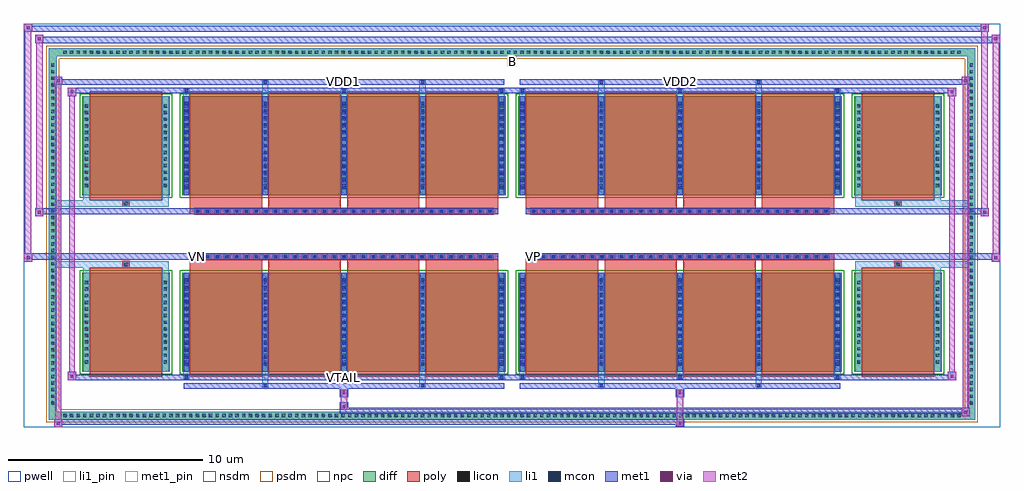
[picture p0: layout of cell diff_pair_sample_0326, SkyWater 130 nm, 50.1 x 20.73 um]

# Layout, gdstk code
import gdstk
lib = gdstk.Library(unit=1e-6, precision=5e-09)
def R(c, l, rs):  # rectangles x0, y0, x1, y1
    for r in rs: c.add(gdstk.rectangle(r[:2], r[2:], *l))
def A(c, l, x, y, w, h, nx, ny, dx, dy):  # array of equal rectangles
    R(c, l, [(x+i*dx, y+j*dy, x+i*dx+w, y+j*dy+h) for i in range(nx) for j in range(ny)])
def P(c, l, *ps):  # polygons
    for p in ps: c.add(gdstk.Polygon(p, *l))
pwell = (64, 44)
diff = (65, 20)
poly = (66, 20)
licon = (66, 44)
li1_pin = (67, 16)
li1 = (67, 20)
mcon = (67, 44)
met1_pin = (68, 16)
met1 = (68, 20)
via = (68, 44)
met2 = (69, 20)
nsdm = (93, 44)
psdm = (94, 20)
npc = (95, 20)

diff_pair_sample_0326 = lib.new_cell('diff_pair_sample_0326')
R(diff_pair_sample_0326, pwell, [(-25.05,-9.93,25.05,10.8), (-22.37,-8.12,-0.01,-0.8), (0.01,-8.12,22.37,-0.8), (-22.37,0.8,-0.01,8.12), (0.01,0.8,22.37,8.12)])
A(diff_pair_sample_0326, diff, -23.155, -9.53, 0.41, 0.41, 136, 2, 0.34, 18.65)
A(diff_pair_sample_0326, diff, -23.78, -8.875, 0.41, 0.41, 1, 52, 0, 0.34)
A(diff_pair_sample_0326, diff, 23.37, -8.875, 0.41, 0.41, 1, 52, 0, 0.34)
R(diff_pair_sample_0326, diff, [(-23.155,-9.53,23.155,-9.12), (-23.78,-8.875,-23.37,8.875), (23.37,-8.875,23.78,8.875), (-22.06,-7.075,-17.57,-1.985), (-16.93,-7.075,-0.32,-1.985), (0.32,-7.075,16.93,-1.985), (17.57,-7.075,22.06,-1.985), (-22.06,1.985,-17.57,7.075), (-16.93,1.985,-0.32,7.075), (0.32,1.985,16.93,7.075), (17.57,1.985,22.06,7.075), (-23.155,9.12,23.155,9.53)])
P(diff_pair_sample_0326, diff, [(23.78,9.53),(-23.78,9.53),(-23.78,-9.12),(-23.37,-9.12),(-23.37,9.12),(23.37,9.12),(23.37,-9.12),(-23.37,-9.12),(-23.78,-9.12),(-23.78,-9.53),(23.78,-9.53)])
A(diff_pair_sample_0326, poly, -16.54, -7.325, 3.71, 5.59, 4, 2, 4.04, 9.06)
A(diff_pair_sample_0326, poly, 0.71, -7.325, 3.71, 5.59, 4, 2, 4.04, 9.06)
A(diff_pair_sample_0326, poly, -16.54, -1.735, 3.71, 0.405, 4, 2, 4.04, 3.065)
A(diff_pair_sample_0326, poly, 0.71, -1.735, 3.71, 0.405, 4, 2, 4.04, 3.065)
A(diff_pair_sample_0326, poly, -16.29, -1.33, 0.33, 0.33, 31, 2, 0.5, 2.33)
A(diff_pair_sample_0326, poly, 0.96, -1.33, 0.33, 0.33, 31, 2, 0.5, 2.33)
R(diff_pair_sample_0326, poly, [(-21.67,-7.325,-17.96,-1.735), (17.96,-7.325,21.67,-1.735), (-19.98,-1.735,-19.65,-1.405), (-19.98,-1.735,-19.65,-1.405), (19.65,-1.735,19.98,-1.405), (19.65,-1.735,19.98,-1.405), (-16.54,-1.33,-0.71,-1), (0.71,-1.33,16.54,-1), (-16.54,1,-0.71,1.33), (0.71,1,16.54,1.33), (-19.98,1.405,-19.65,1.735), (-19.98,1.405,-19.65,1.735), (19.65,1.405,19.98,1.735), (19.65,1.405,19.98,1.735), (-21.67,1.735,-17.96,7.325), (17.96,1.735,21.67,7.325)])
A(diff_pair_sample_0326, licon, -23.035, -9.41, 0.17, 0.17, 136, 2, 0.34, 18.65)
A(diff_pair_sample_0326, licon, -23.66, -8.755, 0.17, 0.17, 1, 52, 0, 0.34)
A(diff_pair_sample_0326, licon, 23.49, -8.755, 0.17, 0.17, 1, 52, 0, 0.34)
A(diff_pair_sample_0326, licon, -21.92, -6.655, 0.17, 0.17, 1, 13, 0, 0.34)
A(diff_pair_sample_0326, licon, -17.88, -6.655, 0.17, 0.17, 1, 13, 0, 0.34)
A(diff_pair_sample_0326, licon, -16.79, -6.655, 0.17, 0.17, 5, 13, 4.04, 0.34)
A(diff_pair_sample_0326, licon, 0.46, -6.655, 0.17, 0.17, 5, 13, 4.04, 0.34)
A(diff_pair_sample_0326, licon, 17.71, -6.655, 0.17, 0.17, 1, 13, 0, 0.34)
A(diff_pair_sample_0326, licon, 21.75, -6.655, 0.17, 0.17, 1, 13, 0, 0.34)
A(diff_pair_sample_0326, licon, -16.21, -1.25, 0.17, 0.17, 31, 2, 0.5, 2.33)
A(diff_pair_sample_0326, licon, 1.04, -1.25, 0.17, 0.17, 31, 2, 0.5, 2.33)
A(diff_pair_sample_0326, licon, -21.92, 2.405, 0.17, 0.17, 1, 13, 0, 0.34)
A(diff_pair_sample_0326, licon, -17.88, 2.405, 0.17, 0.17, 1, 13, 0, 0.34)
A(diff_pair_sample_0326, licon, -16.79, 2.405, 0.17, 0.17, 5, 13, 4.04, 0.34)
A(diff_pair_sample_0326, licon, 0.46, 2.405, 0.17, 0.17, 5, 13, 4.04, 0.34)
A(diff_pair_sample_0326, licon, 17.71, 2.405, 0.17, 0.17, 1, 13, 0, 0.34)
A(diff_pair_sample_0326, licon, 21.75, 2.405, 0.17, 0.17, 1, 13, 0, 0.34)
R(diff_pair_sample_0326, licon, [(-19.9,-1.655,-19.73,-1.485), (19.73,-1.655,19.9,-1.485), (-19.9,1.485,-19.73,1.655), (19.73,1.485,19.9,1.655)])
R(diff_pair_sample_0326, li1_pin, [(-0.25,8.62,0.25,9.12)])
A(diff_pair_sample_0326, li1, -23.115, -9.49, 0.33, 0.33, 136, 2, 0.34, 18.65)
A(diff_pair_sample_0326, li1, -23.74, -8.835, 0.33, 0.33, 1, 52, 0, 0.34)
A(diff_pair_sample_0326, li1, 23.41, -8.835, 0.33, 0.33, 1, 52, 0, 0.34)
A(diff_pair_sample_0326, li1, -16.87, -7.45, 0.33, 0.375, 3, 2, 8.08, 14.525)
A(diff_pair_sample_0326, li1, -16.79, -7.45, 0.17, 0.17, 3, 2, 8.08, 14.73)
A(diff_pair_sample_0326, li1, 0.38, -7.45, 0.33, 0.375, 3, 2, 8.08, 14.525)
A(diff_pair_sample_0326, li1, 0.46, -7.45, 0.17, 0.17, 3, 2, 8.08, 14.73)
A(diff_pair_sample_0326, li1, -16.87, -7.075, 0.33, 5.09, 5, 2, 4.04, 9.06)
A(diff_pair_sample_0326, li1, 0.38, -7.075, 0.33, 5.09, 5, 2, 4.04, 9.06)
A(diff_pair_sample_0326, li1, -16.79, -6.775, 0.17, 0.17, 5, 13, 4.04, 0.36)
A(diff_pair_sample_0326, li1, -16.79, -6.775, 0.17, 4.49, 5, 2, 4.04, 9.06)
A(diff_pair_sample_0326, li1, 0.46, -6.775, 0.17, 0.17, 5, 13, 4.04, 0.36)
A(diff_pair_sample_0326, li1, 0.46, -6.775, 0.17, 4.49, 5, 2, 4.04, 9.06)
A(diff_pair_sample_0326, li1, -22, -6.735, 0.33, 0.33, 1, 13, 0, 0.34)
A(diff_pair_sample_0326, li1, -17.96, -6.735, 0.33, 0.33, 1, 13, 0, 0.34)
A(diff_pair_sample_0326, li1, -16.87, -6.735, 0.33, 0.33, 5, 13, 4.04, 0.34)
A(diff_pair_sample_0326, li1, 0.38, -6.735, 0.33, 0.33, 5, 13, 4.04, 0.34)
A(diff_pair_sample_0326, li1, 17.63, -6.735, 0.33, 0.33, 1, 13, 0, 0.34)
A(diff_pair_sample_0326, li1, 21.67, -6.735, 0.33, 0.33, 1, 13, 0, 0.34)
A(diff_pair_sample_0326, li1, -16.29, -1.33, 0.33, 0.33, 31, 2, 0.5, 2.33)
A(diff_pair_sample_0326, li1, 0.96, -1.33, 0.33, 0.33, 31, 2, 0.5, 2.33)
A(diff_pair_sample_0326, li1, -16.79, 2.285, 0.17, 0.17, 5, 13, 4.04, 0.36)
A(diff_pair_sample_0326, li1, 0.46, 2.285, 0.17, 0.17, 5, 13, 4.04, 0.36)
A(diff_pair_sample_0326, li1, -22, 2.325, 0.33, 0.33, 1, 13, 0, 0.34)
A(diff_pair_sample_0326, li1, -17.96, 2.325, 0.33, 0.33, 1, 13, 0, 0.34)
A(diff_pair_sample_0326, li1, -16.87, 2.325, 0.33, 0.33, 5, 13, 4.04, 0.34)
A(diff_pair_sample_0326, li1, 0.38, 2.325, 0.33, 0.33, 5, 13, 4.04, 0.34)
A(diff_pair_sample_0326, li1, 17.63, 2.325, 0.33, 0.33, 1, 13, 0, 0.34)
A(diff_pair_sample_0326, li1, 21.67, 2.325, 0.33, 0.33, 1, 13, 0, 0.34)
R(diff_pair_sample_0326, li1, [(-23.78,-9.53,-23.37,-9.12), (-23.78,-9.53,-23.37,-9.12), (-23.37,-9.53,23.37,-9.12), (23.37,-9.53,23.78,-9.12), (23.37,-9.53,23.78,-9.12), (-23.78,-9.12,-23.37,9.12), (23.37,-9.12,23.78,9.12), (-12.83,-7.88,-12.5,-7.075), (-12.75,-7.88,-12.58,-7.71), (-4.75,-7.88,-4.42,-7.075), (-4.67,-7.88,-4.5,-7.71), (4.42,-7.88,4.75,-7.075), (4.5,-7.88,4.67,-7.71), (12.5,-7.88,12.83,-7.075), (12.58,-7.88,12.75,-7.71), (-22,-7.075,-21.67,-1.985), (-17.96,-7.075,-17.63,-1.985), (17.63,-7.075,17.96,-1.985), (21.67,-7.075,22,-1.985), (-22,-1.985,-21.67,-1.405), (-17.96,-1.985,-17.63,-1.405), (17.63,-1.985,17.96,-1.405), (21.67,-1.985,22,-1.405), (-23.78,-1.735,-19.98,-1.405), (-22,-1.735,-19.98,-1.405), (-19.98,-1.735,-19.65,-1.405), (-19.65,-1.735,-17.63,-1.405), (17.63,-1.735,19.65,-1.405), (19.65,-1.735,19.98,-1.405), (19.65,-1.735,23.78,-1.405), (19.98,-1.735,22,-1.405), (-23.78,1.405,-19.98,1.735), (-22,1.405,-19.98,1.735), (-22,1.405,-21.67,1.985), (-19.98,1.405,-19.65,1.735), (-19.65,1.405,-17.63,1.735), (-17.96,1.405,-17.63,1.985), (17.63,1.405,19.65,1.735), (17.63,1.405,17.96,1.985), (19.65,1.405,19.98,1.735), (19.65,1.405,23.78,1.735), (19.98,1.405,22,1.735), (21.67,1.405,22,1.985), (-22,1.985,-21.67,7.075), (-17.96,1.985,-17.63,7.075), (17.63,1.985,17.96,7.075), (21.67,1.985,22,7.075), (-12.83,7.075,-12.5,7.88), (-4.75,7.075,-4.42,7.88), (4.42,7.075,4.75,7.88), (12.5,7.075,12.83,7.88), (-12.75,7.71,-12.58,7.88), (-4.67,7.71,-4.5,7.88), (4.5,7.71,4.67,7.88), (12.58,7.71,12.75,7.88), (-23.78,9.12,-23.37,9.53), (-23.78,9.12,-23.37,9.53), (-23.37,9.12,23.37,9.53), (23.37,9.12,23.78,9.53), (23.37,9.12,23.78,9.53)])
A(diff_pair_sample_0326, mcon, -16.79, -7.45, 0.17, 0.17, 3, 2, 8.08, 14.73)
A(diff_pair_sample_0326, mcon, 0.46, -7.45, 0.17, 0.17, 3, 2, 8.08, 14.73)
A(diff_pair_sample_0326, mcon, -16.79, -6.775, 0.17, 0.17, 5, 13, 4.04, 0.36)
A(diff_pair_sample_0326, mcon, 0.46, -6.775, 0.17, 0.17, 5, 13, 4.04, 0.36)
A(diff_pair_sample_0326, mcon, -16.21, -1.25, 0.17, 0.17, 31, 2, 0.5, 2.33)
A(diff_pair_sample_0326, mcon, 1.04, -1.25, 0.17, 0.17, 31, 2, 0.5, 2.33)
A(diff_pair_sample_0326, mcon, -16.79, 2.285, 0.17, 0.17, 5, 13, 4.04, 0.36)
A(diff_pair_sample_0326, mcon, 0.46, 2.285, 0.17, 0.17, 5, 13, 4.04, 0.36)
R(diff_pair_sample_0326, mcon, [(-12.75,-7.88,-12.58,-7.71), (-4.67,-7.88,-4.5,-7.71), (4.5,-7.88,4.67,-7.71), (12.58,-7.88,12.75,-7.71), (-12.75,7.71,-12.58,7.88), (-4.67,7.71,-4.5,7.88), (4.5,7.71,4.67,7.88), (12.58,7.71,12.75,7.88)])
R(diff_pair_sample_0326, met1_pin, [(-8.76,-7.49,-8.49,-7.22), (-16.26,-1.29,-15.99,-1.02), (0.99,-1.29,1.26,-1.02), (-8.76,7.67,-8.49,7.94), (8.49,7.67,8.76,7.94)])
A(diff_pair_sample_0326, met1, -16.85, -7.51, 0.29, 0.29, 3, 2, 8.08, 14.73)
A(diff_pair_sample_0326, met1, 0.4, -7.51, 0.29, 0.29, 3, 2, 8.08, 14.73)
A(diff_pair_sample_0326, met1, -16.85, -7.075, 0.29, 5.09, 5, 2, 4.04, 9.06)
A(diff_pair_sample_0326, met1, 0.4, -7.075, 0.29, 5.09, 5, 2, 4.04, 9.06)
A(diff_pair_sample_0326, met1, -16.85, -6.835, 0.29, 0.29, 5, 13, 4.04, 0.36)
A(diff_pair_sample_0326, met1, 0.4, -6.835, 0.29, 0.29, 5, 13, 4.04, 0.36)
A(diff_pair_sample_0326, met1, -16.27, -1.31, 0.29, 0.29, 31, 2, 0.5, 2.33)
A(diff_pair_sample_0326, met1, 0.98, -1.31, 0.29, 0.29, 31, 2, 0.5, 2.33)
A(diff_pair_sample_0326, met1, -16.85, 2.225, 0.29, 0.29, 5, 13, 4.04, 0.36)
A(diff_pair_sample_0326, met1, 0.4, 2.225, 0.29, 0.29, 5, 13, 4.04, 0.36)
R(diff_pair_sample_0326, met1, [(-23.51,-9.93,-23.08,-9.5), (8.41,-9.93,8.84,-9.5), (-23.51,-9.79,8.84,-9.5), (23.08,-9.36,23.51,-8.93), (-8.84,-9.22,23.51,-8.93), (-8.84,-9.08,-8.41,-8.65), (-8.84,-8.37,-8.41,-7.94), (8.41,-8.37,8.84,-7.94), (-16.85,-7.94,-0.4,-7.65), (-12.81,-7.94,-12.52,-7.65), (-4.73,-7.94,-4.44,-7.65), (0.4,-7.94,16.85,-7.65), (4.44,-7.94,4.73,-7.65), (12.52,-7.94,12.81,-7.65), (-22.8,-7.51,-22.37,-7.08), (-22.8,-7.51,-16.85,-7.22), (-16.85,-7.51,-0.4,-7.22), (-0.4,-7.51,0.4,-7.22), (0.4,-7.51,16.85,-7.22), (16.85,-7.51,22.8,-7.22), (22.37,-7.51,22.8,-7.08), (-25.05,-1.43,-24.62,-1), (24.62,-1.43,25.05,-1), (-25.05,-1.33,-0.71,-1), (-16.54,-1.33,-0.71,-1), (0.71,-1.33,16.54,-1), (0.71,-1.33,25.05,-1), (-24.48,0.9,-24.05,1.33), (24.05,0.9,24.48,1.33), (-24.48,1,-16.54,1.33), (-16.54,1,-0.71,1.33), (0.71,1,16.54,1.33), (16.54,1,24.48,1.33), (-22.8,7.08,-22.37,7.51), (22.37,7.08,22.8,7.51), (-22.8,7.22,-16.85,7.51), (-16.85,7.22,-0.4,7.51), (-0.4,7.22,0.4,7.51), (0.4,7.22,16.85,7.51), (16.85,7.22,22.8,7.51), (-23.51,7.65,-23.08,8.08), (-23.51,7.65,-16.85,7.94), (-16.85,7.65,-0.4,7.94), (-12.81,7.65,-12.52,7.94), (-4.73,7.65,-4.44,7.94), (0.4,7.65,16.85,7.94), (4.44,7.65,4.73,7.94), (12.52,7.65,12.81,7.94), (16.85,7.65,23.51,7.94), (23.08,7.65,23.51,8.08), (-24.48,9.8,-24.05,10.23), (-24.48,9.8,-22.37,10.13), (-22.37,9.8,22.37,10.13), (22.37,9.8,25.05,10.13), (24.62,9.8,25.05,10.23), (-25.05,10.37,-24.62,10.8), (-25.05,10.37,-22.37,10.7), (-22.37,10.37,22.37,10.7), (22.37,10.37,24.48,10.7), (24.05,10.37,24.48,10.8)])
R(diff_pair_sample_0326, via, [(-23.37,-9.79,-23.22,-9.64), (8.55,-9.79,8.7,-9.64), (23.22,-9.22,23.37,-9.07), (-8.7,-8.94,-8.55,-8.79), (-8.7,-8.23,-8.55,-8.08), (8.55,-8.23,8.7,-8.08), (-22.66,-7.37,-22.51,-7.22), (22.51,-7.37,22.66,-7.22), (-24.91,-1.29,-24.76,-1.14), (24.76,-1.29,24.91,-1.14), (-24.34,1.04,-24.19,1.19), (24.19,1.04,24.34,1.19), (-22.66,7.22,-22.51,7.37), (22.51,7.22,22.66,7.37), (-23.37,7.79,-23.22,7.94), (23.22,7.79,23.37,7.94), (-24.34,9.94,-24.19,10.09), (24.76,9.94,24.91,10.09), (-24.91,10.51,-24.76,10.66), (24.19,10.51,24.34,10.66)])
R(diff_pair_sample_0326, met2, [(-23.51,-9.93,-23.08,-9.5), (-23.44,-9.93,-23.15,8.08), (-23.15,-9.93,-23.08,-9.5), (-23.46,-9.88,-23.13,-9.55), (8.46,-9.88,8.79,-9.55), (8.46,-9.55,8.79,-8.32), (23.08,-9.36,23.51,-8.93), (23.15,-9.36,23.44,8.08), (23.44,-9.36,23.51,-8.93), (23.13,-9.31,23.46,-8.98), (-8.79,-9.03,-8.46,-8.7), (-8.79,-8.7,-8.46,-8.32), (-8.79,-8.32,-8.46,-7.99), (8.46,-8.32,8.79,-7.99), (-22.8,-7.51,-22.37,-7.08), (-22.73,-7.51,-22.44,7.51), (-22.44,-7.51,-22.37,-7.08), (22.37,-7.51,22.8,-7.08), (22.44,-7.51,22.73,7.51), (22.73,-7.51,22.8,-7.08), (-22.75,-7.46,-22.42,-7.13), (22.42,-7.46,22.75,-7.13), (-25.05,-1.43,-24.62,-1), (-25,-1.43,-24.67,10.8), (-24.67,-1.43,-24.62,-1), (24.62,-1.43,25.05,-1), (24.67,-1.43,25,10.23), (25,-1.43,25.05,-1), (-25,-1.38,-24.67,-1.05), (24.67,-1.38,25,-1.05), (-24.48,0.9,-24.05,1.33), (-24.43,0.9,-24.1,10.23), (-24.1,0.9,-24.05,1.33), (24.05,0.9,24.48,1.33), (24.1,0.9,24.43,10.8), (24.43,0.9,24.48,1.33), (-24.43,0.95,-24.1,1.28), (24.1,0.95,24.43,1.28), (-22.8,7.08,-22.37,7.51), (-22.44,7.08,-22.37,7.51), (22.37,7.08,22.8,7.51), (22.73,7.08,22.8,7.51), (-22.75,7.13,-22.42,7.46), (22.42,7.13,22.75,7.46), (-23.51,7.65,-23.08,8.08), (-23.15,7.65,-23.08,8.08), (23.08,7.65,23.51,8.08), (23.44,7.65,23.51,8.08), (-23.46,7.7,-23.13,8.03), (23.13,7.7,23.46,8.03), (-24.48,9.8,-24.05,10.23), (-24.1,9.8,-24.05,10.23), (24.62,9.8,25.05,10.23), (25,9.8,25.05,10.23), (-24.43,9.85,-24.1,10.18), (24.67,9.85,25,10.18), (-25.05,10.37,-24.62,10.8), (-24.67,10.37,-24.62,10.8), (24.05,10.37,24.48,10.8), (24.43,10.37,24.48,10.8), (-25,10.42,-24.67,10.75), (24.1,10.42,24.43,10.75)])
R(diff_pair_sample_0326, nsdm, [(-22.19,-7.205,-17.44,-1.855), (-17.06,-7.205,-0.19,-1.855), (0.19,-7.205,17.06,-1.855), (17.44,-7.205,22.19,-1.855), (-22.19,1.855,-17.44,7.205), (-17.06,1.855,-0.19,7.205), (0.19,1.855,17.06,7.205), (17.44,1.855,22.19,7.205)])
P(diff_pair_sample_0326, psdm, [(23.91,9.66),(-23.91,9.66),(-23.91,-8.99),(-23.24,-8.99),(-23.24,8.99),(23.24,8.99),(23.24,-8.99),(-23.24,-8.99),(-23.91,-8.99),(-23.91,-9.66),(23.91,-9.66)])
A(diff_pair_sample_0326, npc, -16.31, -1.35, 0.37, 0.37, 31, 2, 0.5, 2.33)
A(diff_pair_sample_0326, npc, 0.94, -1.35, 0.37, 0.37, 31, 2, 0.5, 2.33)
R(diff_pair_sample_0326, npc, [(-20,-1.755,-19.63,-1.385), (19.63,-1.755,20,-1.385), (-16.31,-1.35,-15.44,-0.98), (-16.31,-1.35,-15.44,-0.98), (-15.81,-1.35,-14.94,-0.98), (-15.81,-1.35,-14.94,-0.98), (-15.31,-1.35,-14.44,-0.98), (-15.31,-1.35,-14.44,-0.98), (-14.81,-1.35,-13.94,-0.98), (-14.81,-1.35,-13.94,-0.98), (-14.31,-1.35,-13.44,-0.98), (-14.31,-1.35,-13.44,-0.98), (-13.81,-1.35,-12.94,-0.98), (-13.81,-1.35,-12.94,-0.98), (-13.31,-1.35,-12.44,-0.98), (-13.31,-1.35,-12.44,-0.98), (-12.81,-1.35,-11.94,-0.98), (-12.81,-1.35,-11.94,-0.98), (-12.31,-1.35,-11.44,-0.98), (-12.31,-1.35,-11.44,-0.98), (-11.81,-1.35,-10.94,-0.98), (-11.81,-1.35,-10.94,-0.98), (-11.31,-1.35,-10.44,-0.98), (-11.31,-1.35,-10.44,-0.98), (-10.81,-1.35,-9.94,-0.98), (-10.81,-1.35,-9.94,-0.98), (-10.31,-1.35,-9.44,-0.98), (-10.31,-1.35,-9.44,-0.98), (-9.81,-1.35,-8.94,-0.98), (-9.81,-1.35,-8.94,-0.98), (-9.31,-1.35,-8.44,-0.98), (-9.31,-1.35,-8.44,-0.98), (-8.81,-1.35,-7.94,-0.98), (-8.81,-1.35,-7.94,-0.98), (-8.31,-1.35,-7.44,-0.98), (-8.31,-1.35,-7.44,-0.98), (-7.81,-1.35,-6.94,-0.98), (-7.81,-1.35,-6.94,-0.98), (-7.31,-1.35,-6.44,-0.98), (-7.31,-1.35,-6.44,-0.98), (-6.81,-1.35,-5.94,-0.98), (-6.81,-1.35,-5.94,-0.98), (-6.31,-1.35,-5.44,-0.98), (-6.31,-1.35,-5.44,-0.98), (-5.81,-1.35,-4.94,-0.98), (-5.81,-1.35,-4.94,-0.98), (-5.31,-1.35,-4.44,-0.98), (-5.31,-1.35,-4.44,-0.98), (-4.81,-1.35,-3.94,-0.98), (-4.81,-1.35,-3.94,-0.98), (-4.31,-1.35,-3.44,-0.98), (-4.31,-1.35,-3.44,-0.98), (-3.81,-1.35,-2.94,-0.98), (-3.81,-1.35,-2.94,-0.98), (-3.31,-1.35,-2.44,-0.98), (-3.31,-1.35,-2.44,-0.98), (-2.81,-1.35,-1.94,-0.98), (-2.81,-1.35,-1.94,-0.98), (-2.31,-1.35,-1.44,-0.98), (-2.31,-1.35,-1.44,-0.98), (-1.81,-1.35,-0.94,-0.98), (-1.81,-1.35,-0.94,-0.98), (0.94,-1.35,1.81,-0.98), (0.94,-1.35,1.81,-0.98), (1.44,-1.35,2.31,-0.98), (1.44,-1.35,2.31,-0.98), (1.94,-1.35,2.81,-0.98), (1.94,-1.35,2.81,-0.98), (2.44,-1.35,3.31,-0.98), (2.44,-1.35,3.31,-0.98), (2.94,-1.35,3.81,-0.98), (2.94,-1.35,3.81,-0.98), (3.44,-1.35,4.31,-0.98), (3.44,-1.35,4.31,-0.98), (3.94,-1.35,4.81,-0.98), (3.94,-1.35,4.81,-0.98), (4.44,-1.35,5.31,-0.98), (4.44,-1.35,5.31,-0.98), (4.94,-1.35,5.81,-0.98), (4.94,-1.35,5.81,-0.98), (5.44,-1.35,6.31,-0.98), (5.44,-1.35,6.31,-0.98), (5.94,-1.35,6.81,-0.98), (5.94,-1.35,6.81,-0.98), (6.44,-1.35,7.31,-0.98), (6.44,-1.35,7.31,-0.98), (6.94,-1.35,7.81,-0.98), (6.94,-1.35,7.81,-0.98), (7.44,-1.35,8.31,-0.98), (7.44,-1.35,8.31,-0.98), (7.94,-1.35,8.81,-0.98), (7.94,-1.35,8.81,-0.98), (8.44,-1.35,9.31,-0.98), (8.44,-1.35,9.31,-0.98), (8.94,-1.35,9.81,-0.98), (8.94,-1.35,9.81,-0.98), (9.44,-1.35,10.31,-0.98), (9.44,-1.35,10.31,-0.98), (9.94,-1.35,10.81,-0.98), (9.94,-1.35,10.81,-0.98), (10.44,-1.35,11.31,-0.98), (10.44,-1.35,11.31,-0.98), (10.94,-1.35,11.81,-0.98), (10.94,-1.35,11.81,-0.98), (11.44,-1.35,12.31,-0.98), (11.44,-1.35,12.31,-0.98), (11.94,-1.35,12.81,-0.98), (11.94,-1.35,12.81,-0.98), (12.44,-1.35,13.31,-0.98), (12.44,-1.35,13.31,-0.98), (12.94,-1.35,13.81,-0.98), (12.94,-1.35,13.81,-0.98), (13.44,-1.35,14.31,-0.98), (13.44,-1.35,14.31,-0.98), (13.94,-1.35,14.81,-0.98), (13.94,-1.35,14.81,-0.98), (14.44,-1.35,15.31,-0.98), (14.44,-1.35,15.31,-0.98), (14.94,-1.35,15.81,-0.98), (14.94,-1.35,15.81,-0.98), (15.44,-1.35,16.31,-0.98), (15.44,-1.35,16.31,-0.98), (-16.31,0.98,-15.44,1.35), (-16.31,0.98,-15.44,1.35), (-15.81,0.98,-14.94,1.35), (-15.81,0.98,-14.94,1.35), (-15.31,0.98,-14.44,1.35), (-15.31,0.98,-14.44,1.35), (-14.81,0.98,-13.94,1.35), (-14.81,0.98,-13.94,1.35), (-14.31,0.98,-13.44,1.35), (-14.31,0.98,-13.44,1.35), (-13.81,0.98,-12.94,1.35), (-13.81,0.98,-12.94,1.35), (-13.31,0.98,-12.44,1.35), (-13.31,0.98,-12.44,1.35), (-12.81,0.98,-11.94,1.35), (-12.81,0.98,-11.94,1.35), (-12.31,0.98,-11.44,1.35), (-12.31,0.98,-11.44,1.35), (-11.81,0.98,-10.94,1.35), (-11.81,0.98,-10.94,1.35), (-11.31,0.98,-10.44,1.35), (-11.31,0.98,-10.44,1.35), (-10.81,0.98,-9.94,1.35), (-10.81,0.98,-9.94,1.35), (-10.31,0.98,-9.44,1.35), (-10.31,0.98,-9.44,1.35), (-9.81,0.98,-8.94,1.35), (-9.81,0.98,-8.94,1.35), (-9.31,0.98,-8.44,1.35), (-9.31,0.98,-8.44,1.35), (-8.81,0.98,-7.94,1.35), (-8.81,0.98,-7.94,1.35), (-8.31,0.98,-7.44,1.35), (-8.31,0.98,-7.44,1.35), (-7.81,0.98,-6.94,1.35), (-7.81,0.98,-6.94,1.35), (-7.31,0.98,-6.44,1.35), (-7.31,0.98,-6.44,1.35), (-6.81,0.98,-5.94,1.35), (-6.81,0.98,-5.94,1.35), (-6.31,0.98,-5.44,1.35), (-6.31,0.98,-5.44,1.35), (-5.81,0.98,-4.94,1.35), (-5.81,0.98,-4.94,1.35), (-5.31,0.98,-4.44,1.35), (-5.31,0.98,-4.44,1.35), (-4.81,0.98,-3.94,1.35), (-4.81,0.98,-3.94,1.35), (-4.31,0.98,-3.44,1.35), (-4.31,0.98,-3.44,1.35), (-3.81,0.98,-2.94,1.35), (-3.81,0.98,-2.94,1.35), (-3.31,0.98,-2.44,1.35), (-3.31,0.98,-2.44,1.35), (-2.81,0.98,-1.94,1.35), (-2.81,0.98,-1.94,1.35), (-2.31,0.98,-1.44,1.35), (-2.31,0.98,-1.44,1.35), (-1.81,0.98,-0.94,1.35), (-1.81,0.98,-0.94,1.35), (0.94,0.98,1.81,1.35), (0.94,0.98,1.81,1.35), (1.44,0.98,2.31,1.35), (1.44,0.98,2.31,1.35), (1.94,0.98,2.81,1.35), (1.94,0.98,2.81,1.35), (2.44,0.98,3.31,1.35), (2.44,0.98,3.31,1.35), (2.94,0.98,3.81,1.35), (2.94,0.98,3.81,1.35), (3.44,0.98,4.31,1.35), (3.44,0.98,4.31,1.35), (3.94,0.98,4.81,1.35), (3.94,0.98,4.81,1.35), (4.44,0.98,5.31,1.35), (4.44,0.98,5.31,1.35), (4.94,0.98,5.81,1.35), (4.94,0.98,5.81,1.35), (5.44,0.98,6.31,1.35), (5.44,0.98,6.31,1.35), (5.94,0.98,6.81,1.35), (5.94,0.98,6.81,1.35), (6.44,0.98,7.31,1.35), (6.44,0.98,7.31,1.35), (6.94,0.98,7.81,1.35), (6.94,0.98,7.81,1.35), (7.44,0.98,8.31,1.35), (7.44,0.98,8.31,1.35), (7.94,0.98,8.81,1.35), (7.94,0.98,8.81,1.35), (8.44,0.98,9.31,1.35), (8.44,0.98,9.31,1.35), (8.94,0.98,9.81,1.35), (8.94,0.98,9.81,1.35), (9.44,0.98,10.31,1.35), (9.44,0.98,10.31,1.35), (9.94,0.98,10.81,1.35), (9.94,0.98,10.81,1.35), (10.44,0.98,11.31,1.35), (10.44,0.98,11.31,1.35), (10.94,0.98,11.81,1.35), (10.94,0.98,11.81,1.35), (11.44,0.98,12.31,1.35), (11.44,0.98,12.31,1.35), (11.94,0.98,12.81,1.35), (11.94,0.98,12.81,1.35), (12.44,0.98,13.31,1.35), (12.44,0.98,13.31,1.35), (12.94,0.98,13.81,1.35), (12.94,0.98,13.81,1.35), (13.44,0.98,14.31,1.35), (13.44,0.98,14.31,1.35), (13.94,0.98,14.81,1.35), (13.94,0.98,14.81,1.35), (14.44,0.98,15.31,1.35), (14.44,0.98,15.31,1.35), (14.94,0.98,15.81,1.35), (14.94,0.98,15.81,1.35), (15.44,0.98,16.31,1.35), (15.44,0.98,16.31,1.35), (-20,1.385,-19.63,1.755), (19.63,1.385,20,1.755)])
diff_pair_sample_0326.add(gdstk.Label('VTAIL', (-8.625,-7.355), layer=68, texttype=5))
diff_pair_sample_0326.add(gdstk.Label('VN', (-16.125,-1.155), layer=68, texttype=5))
diff_pair_sample_0326.add(gdstk.Label('VP', (1.125,-1.155), layer=68, texttype=5))
diff_pair_sample_0326.add(gdstk.Label('B', (0,8.87), layer=67, texttype=5))
diff_pair_sample_0326.add(gdstk.Label('VDD2', (8.625,7.805), layer=68, texttype=5))
diff_pair_sample_0326.add(gdstk.Label('VDD1', (-8.625,7.805), layer=68, texttype=5))

lib.write_gds('diff_pair_sample_0326.gds')
